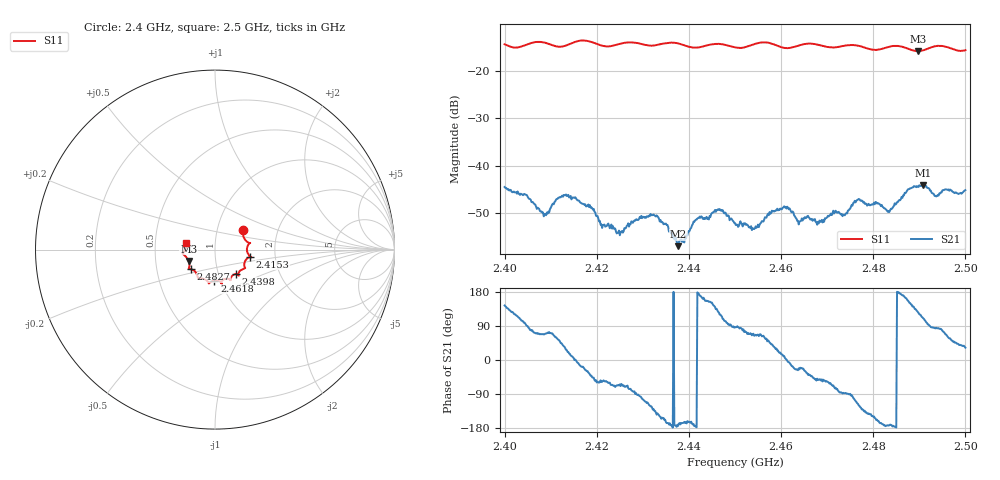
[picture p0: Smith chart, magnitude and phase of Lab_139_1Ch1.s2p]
# Hz S RI R 50
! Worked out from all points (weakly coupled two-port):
!   601 points, 2.4 GHz to 2.5 GHz, reference 50 ohm
!   highest |S21| = -44.00 dB at 2.4908 GHz (marker M1); lowest = -56.9 dB at 2.4377 GHz (marker M2)
!   lowest |S11| = -15.9 dB at 2.4897 GHz (marker M3), VSWR 1.38, Z = 37 - j4.82 ohm
!   |S11| at or under -10 dB: start of sweep to end of sweep
!   S12 and S22 are empty: the file has one direction only
!   S11 on the Smith chart (normalised r, x): 2.4 GHz: 1.33, +0.29; 2.4153 GHz: 1.48, -0.12; 2.4398 GHz: 1.21, -0.34; 2.4618 GHz: 0.94, -0.33; 2.4827 GHz: 0.75, -0.17; 2.5 GHz: 0.72, +0.06
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2.4e9  0.1556 0.1068  -0.00483 0.00354  0 0  0 0
2.408833e9  0.1924 0.0348  0.00109 0.00291  0 0  0 0
2.412e9  0.1778 -0.000376  0.00308 0.00355  0 0  0 0
2.415333e9  0.1961 -0.0388  0.00467 9.17e-05  0 0  0 0
2.416667e9  0.2021 -0.0427  0.00386 -0.00122  0 0  0 0
2.424667e9  0.1638 -0.0936  0.00081 -0.00182  0 0  0 0
2.433333e9  0.1307 -0.1337  -0.00232 -0.00171  0 0  0 0
2.437667e9  0.1304 -0.1415  -0.00142 -0.000158  0 0  0 0
2.439833e9  0.1156 -0.1359  -0.00197 -0.000583  0 0  0 0
2.446167e9  0.0852 -0.1704  -0.00225 0.00258  0 0  0 0
2.45e9  0.0653 -0.1627  0.000135 0.0025  0 0  0 0
2.454167e9  0.0353 -0.1857  0.000955 0.00195  0 0  0 0
2.461833e9  -0.00289 -0.1725  0.00355 -0.000455  0 0  0 0
2.466667e9  -0.0345 -0.1883  0.00205 -0.00187  0 0  0 0
2.473833e9  -0.0871 -0.1604  0.000115 -0.00302  0 0  0 0
2.476833e9  -0.0961 -0.1543  -0.00219 -0.00391  0 0  0 0
2.482667e9  -0.1351 -0.1091  -0.00349 -0.000332  0 0  0 0
2.483333e9  -0.1401 -0.1087  -0.00333 -0.000392  0 0  0 0
2.489667e9  -0.1465 -0.0636  -0.00363 0.00483  0 0  0 0
2.490833e9  -0.1559 -0.0474  -0.00217 0.00592  0 0  0 0
2.493667e9  -0.1793 -0.0239  0.000415 0.00475  0 0  0 0
2.5e9  -0.159 0.0384  0.00468 0.00299  0 0  0 0
